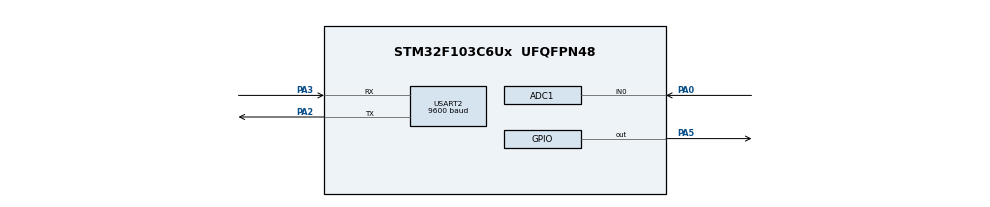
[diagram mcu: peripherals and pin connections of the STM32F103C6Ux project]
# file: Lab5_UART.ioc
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ADC1.Channel-0\#ChannelRegularConversion=ADC_CHANNEL_0
ADC1.ContinuousConvMode=ENABLE
ADC1.NbrOfConversionFlag=1
ADC1.Rank-0\#ChannelRegularConversion=1
ADC1.SamplingTime-0\#ChannelRegularConversion=ADC_SAMPLETIME_1CYCLE_5
ADC1.master=1
Mcu.Family=STM32F1
Mcu.Name=STM32F103C6Ux
Mcu.Package=UFQFPN48
NVIC.PriorityGroup=NVIC_PRIORITYGROUP_4
NVIC.TIM2_IRQn=true\:0\:0\:false\:false\:true\:true\:true
NVIC.USART2_IRQn=true\:0\:0\:false\:false\:true\:true\:true
PA0-WKUP.Signal=ADCx_IN0
PA2.Mode=Asynchronous
PA2.Signal=USART2_TX
PA3.Mode=Asynchronous
PA3.Signal=USART2_RX
PA5.Signal=GPIO_Output
ProjectManager.HeapSize=0x200
ProjectManager.StackSize=0x400
ProjectManager.TargetToolchain=STM32CubeIDE
RCC.APB1Freq_Value=8000000
RCC.APB2Freq_Value=8000000
SH.ADCx_IN0.0=ADC1_IN0,IN0
TIM2.Period=9
TIM2.Prescaler=7999
USART2.BaudRate=9600
USART2.VirtualMode=VM_ASYNC
VP_SYS_VS_ND.Mode=No_Debug
VP_TIM2_VS_ClockSourceINT.Mode=Internal
board=custom

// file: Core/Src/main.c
/* USER CODE BEGIN Header */
/**
  ******************************************************************************
  * @file           : main.c
  * @brief          : Main program body
  ******************************************************************************
  * @attention
  *
  * <h2><center>&copy; Copyright (c) 2026 STMicroelectronics.
  * All rights reserved.</center></h2>
  *
  * This software component is licensed by ST under BSD 3-Clause license,
  * the "License"; You may not use this file except in compliance with the
  * License. You may obtain a copy of the License at:
  *                        opensource.org/licenses/BSD-3-Clause
  *
  ******************************************************************************
  */
/* USER CODE END Header */
#include "main.h"
/* USER CODE BEGIN Includes */
#include <stdio.h>
#include <string.h>
#include "command_parser.h"
#include "timer.h"
#include "uart_communication.h"
/* USER CODE END Includes */

ADC_HandleTypeDef hadc1;

TIM_HandleTypeDef htim2;

UART_HandleTypeDef huart2;

/* USER CODE BEGIN PV */
uint8_t temp = 0;
/* USER CODE END PV */

void SystemClock_Config(void);
static void MX_GPIO_Init(void);
static void MX_ADC1_Init(void);
static void MX_USART2_UART_Init(void);
static void MX_TIM2_Init(void);

int main(void)
{

  /* MCU Configuration--------------------------------------------------------*/

  /* Reset of all peripherals, Initializes the Flash interface and the Systick. */
  HAL_Init();

  /* Configure the system clock */
  SystemClock_Config();

  /* Initialize all configured peripherals */
  MX_GPIO_Init();
  MX_ADC1_Init();
  MX_USART2_UART_Init();
  MX_TIM2_Init();
  /* USER CODE BEGIN 2 */
  HAL_TIM_Base_Start_IT(&htim2);
  HAL_UART_Receive_IT(&huart2, &temp, 1);
  setTimer(1, 500); //LED
  /* USER CODE END 2 */

  /* Infinite loop */
  while (1)
  {

	  /* USER CODE BEGIN 3 */

	  //den lien tuc nhay
	  if(timer_flag[1]==1)
	  {
		  HAL_GPIO_TogglePin(GPIOA, GPIO_PIN_5);
		  setTimer(1, 500);
	  }
	  //kiem tra co lien tuc
	  if (buffer_flag == 1)
	        {
	            buffer_flag = 0;
	            command_parser_fsm();
	        }

	  //dieu phoi giao tiep
	  uart_communication_fsm();

  }
  /* USER CODE END 3 */
}

void SystemClock_Config(void)
{
  RCC_OscInitTypeDef RCC_OscInitStruct = {0};
  RCC_ClkInitTypeDef RCC_ClkInitStruct = {0};
  RCC_PeriphCLKInitTypeDef PeriphClkInit = {0};

  /** Initializes the RCC Oscillators according to the specified parameters
  * in the RCC_OscInitTypeDef structure.
  */
  RCC_OscInitStruct.OscillatorType = RCC_OSCILLATORTYPE_HSI;
  RCC_OscInitStruct.HSIState = RCC_HSI_ON;
  RCC_OscInitStruct.HSICalibrationValue = RCC_HSICALIBRATION_DEFAULT;
  RCC_OscInitStruct.PLL.PLLState = RCC_PLL_NONE;
  if (HAL_RCC_OscConfig(&RCC_OscInitStruct) != HAL_OK)
  {
    Error_Handler();
  }
  /** Initializes the CPU, AHB and APB buses clocks
  */
  RCC_ClkInitStruct.ClockType = RCC_CLOCKTYPE_HCLK|RCC_CLOCKTYPE_SYSCLK
                              |RCC_CLOCKTYPE_PCLK1|RCC_CLOCKTYPE_PCLK2;
  RCC_ClkInitStruct.SYSCLKSource = RCC_SYSCLKSOURCE_HSI;
  RCC_ClkInitStruct.AHBCLKDivider = RCC_SYSCLK_DIV1;
  RCC_ClkInitStruct.APB1CLKDivider = RCC_HCLK_DIV1;
  RCC_ClkInitStruct.APB2CLKDivider = RCC_HCLK_DIV1;

  if (HAL_RCC_ClockConfig(&RCC_ClkInitStruct, FLASH_LATENCY_0) != HAL_OK)
  {
    Error_Handler();
  }
  PeriphClkInit.PeriphClockSelection = RCC_PERIPHCLK_ADC;
  PeriphClkInit.AdcClockSelection = RCC_ADCPCLK2_DIV2;
  if (HAL_RCCEx_PeriphCLKConfig(&PeriphClkInit) != HAL_OK)
  {
    Error_Handler();
  }
}

static void MX_ADC1_Init(void)
{

  ADC_ChannelConfTypeDef sConfig = {0};

  /** Common config
  */
  hadc1.Instance = ADC1;
  hadc1.Init.ScanConvMode = ADC_SCAN_DISABLE;
  hadc1.Init.ContinuousConvMode = ENABLE;
  hadc1.Init.DiscontinuousConvMode = DISABLE;
  hadc1.Init.ExternalTrigConv = ADC_SOFTWARE_START;
  hadc1.Init.DataAlign = ADC_DATAALIGN_RIGHT;
  hadc1.Init.NbrOfConversion = 1;
  if (HAL_ADC_Init(&hadc1) != HAL_OK)
  {
    Error_Handler();
  }
  /** Configure Regular Channel
  */
  sConfig.Channel = ADC_CHANNEL_0;
  sConfig.Rank = ADC_REGULAR_RANK_1;
  sConfig.SamplingTime = ADC_SAMPLETIME_1CYCLE_5;
  if (HAL_ADC_ConfigChannel(&hadc1, &sConfig) != HAL_OK)
  {
    Error_Handler();
  }

}

static void MX_TIM2_Init(void)
{

  TIM_ClockConfigTypeDef sClockSourceConfig = {0};
  TIM_MasterConfigTypeDef sMasterConfig = {0};

  htim2.Instance = TIM2;
  htim2.Init.Prescaler = 7999;
  htim2.Init.CounterMode = TIM_COUNTERMODE_UP;
  htim2.Init.Period = 9;
  htim2.Init.ClockDivision = TIM_CLOCKDIVISION_DIV1;
  htim2.Init.AutoReloadPreload = TIM_AUTORELOAD_PRELOAD_DISABLE;
  if (HAL_TIM_Base_Init(&htim2) != HAL_OK)
  {
    Error_Handler();
  }
  sClockSourceConfig.ClockSource = TIM_CLOCKSOURCE_INTERNAL;
  if (HAL_TIM_ConfigClockSource(&htim2, &sClockSourceConfig) != HAL_OK)
  {
    Error_Handler();
  }
  sMasterConfig.MasterOutputTrigger = TIM_TRGO_RESET;
  sMasterConfig.MasterSlaveMode = TIM_MASTERSLAVEMODE_DISABLE;
  if (HAL_TIMEx_MasterConfigSynchronization(&htim2, &sMasterConfig) != HAL_OK)
  {
    Error_Handler();
  }

}

static void MX_USART2_UART_Init(void)
{

  huart2.Instance = USART2;
  huart2.Init.BaudRate = 9600;
  huart2.Init.WordLength = UART_WORDLENGTH_8B;
  huart2.Init.StopBits = UART_STOPBITS_1;
  huart2.Init.Parity = UART_PARITY_NONE;
  huart2.Init.Mode = UART_MODE_TX_RX;
  huart2.Init.HwFlowCtl = UART_HWCONTROL_NONE;
  huart2.Init.OverSampling = UART_OVERSAMPLING_16;
  if (HAL_UART_Init(&huart2) != HAL_OK)
  {
    Error_Handler();
  }

}

static void MX_GPIO_Init(void)
{
  GPIO_InitTypeDef GPIO_InitStruct = {0};

  /* GPIO Ports Clock Enable */
  __HAL_RCC_GPIOA_CLK_ENABLE();

  /*Configure GPIO pin Output Level */
  HAL_GPIO_WritePin(GPIOA, GPIO_PIN_5, GPIO_PIN_RESET);

  /*Configure GPIO pin : PA5 */
  GPIO_InitStruct.Pin = GPIO_PIN_5;
  GPIO_InitStruct.Mode = GPIO_MODE_OUTPUT_PP;
  GPIO_InitStruct.Pull = GPIO_NOPULL;
  GPIO_InitStruct.Speed = GPIO_SPEED_FREQ_LOW;
  HAL_GPIO_Init(GPIOA, &GPIO_InitStruct);

}

/* USER CODE BEGIN 4 */
void HAL_TIM_PeriodElapsedCallback(TIM_HandleTypeDef *htim)
{
    if(htim->Instance == TIM2)
    {
        timerRun();
    }
}
/* USER CODE END 4 */

void Error_Handler(void)
{
  __disable_irq();
  while (1)
  {
  }
}

/************************ (C) COPYRIGHT STMicroelectronics *****END OF FILE****/
